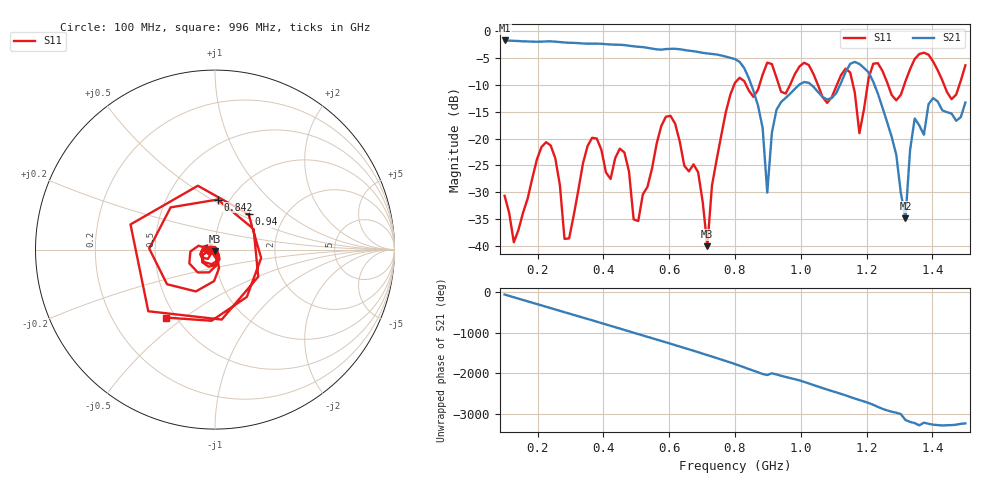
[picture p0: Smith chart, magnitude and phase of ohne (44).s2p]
! NanoVNA-App
! Date: 2025-09-26 09:55:44
! Start: 100MHz Stop: 1,5GHz Points: 101
! S-Parameter data: F S11 S21 S12 S22
# Hz S RI R 50
!  Frequency  S11_Real  S11_Imag  S21_Real  S21_Imag  S12_Real  S12_Imag  S22_Real  S22_Imag
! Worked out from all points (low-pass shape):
!   101 points, 100 MHz to 1.5 GHz, reference 50 ohm
!   highest |S21| = -1.79 dB at 100 MHz (marker M1); lowest = -34.8 dB at 1.318 GHz (marker M2)
!   |S21| within 3 dB of the highest: start of sweep to 772.3 MHz
!   lowest |S11| = -40.0 dB at 716 MHz (marker M3), VSWR 1.02, Z = 49.8 - j0.98 ohm
!   |S11| at or under -10 dB: start of sweep to 797.7 MHz; 833.3 MHz to 874.6 MHz (41.31 MHz wide, 4.84 % of centre); 1.052 GHz to 1.11 GHz (58.15 MHz wide, 5.38 % of centre)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
!   S12 and S22 are empty: the file has one direction only
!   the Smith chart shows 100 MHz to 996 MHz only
!   S11 on the Smith chart (normalised r, x): 100 MHz: 0.94, -0.01; 842 MHz: 0.88, +0.53; 940 MHz: 1.32, +0.56; 996 MHz: 0.44, -0.43
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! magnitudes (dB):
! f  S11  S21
! 100 MHz  -30.6  -1.8
! 128 MHz  -39.3  -1.9
! 226 MHz  -20.7  -2.0
! 296 MHz  -38.5  -2.2
! 338 MHz  -24.6  -2.3
! 464 MHz  -22.6  -2.6
! 506 MHz  -35.3  -3.0
! 576 MHz  -17.7  -3.5
! 688 MHz  -26.3  -3.9
! 716 MHz  -40.0  -4.2
! 800 MHz  -9.6  -5.3
! 842 MHz  -11.1  -8.8
! 898 MHz  -5.9  -30.0
! 940 MHz  -11.3  -13.2
! 996 MHz  -6.6  -10.0
! 1.038 GHz  -8.0  -10.4
! 1.178 GHz  -19.0  -6.2
! 1.22 GHz  -6.1  -9.5
! 1.276 GHz  -11.9  -19.7
! 1.318 GHz  -9.3  -34.8
! 1.346 GHz  -5.2  -16.3
! 1.5 GHz  -6.4  -13.3
